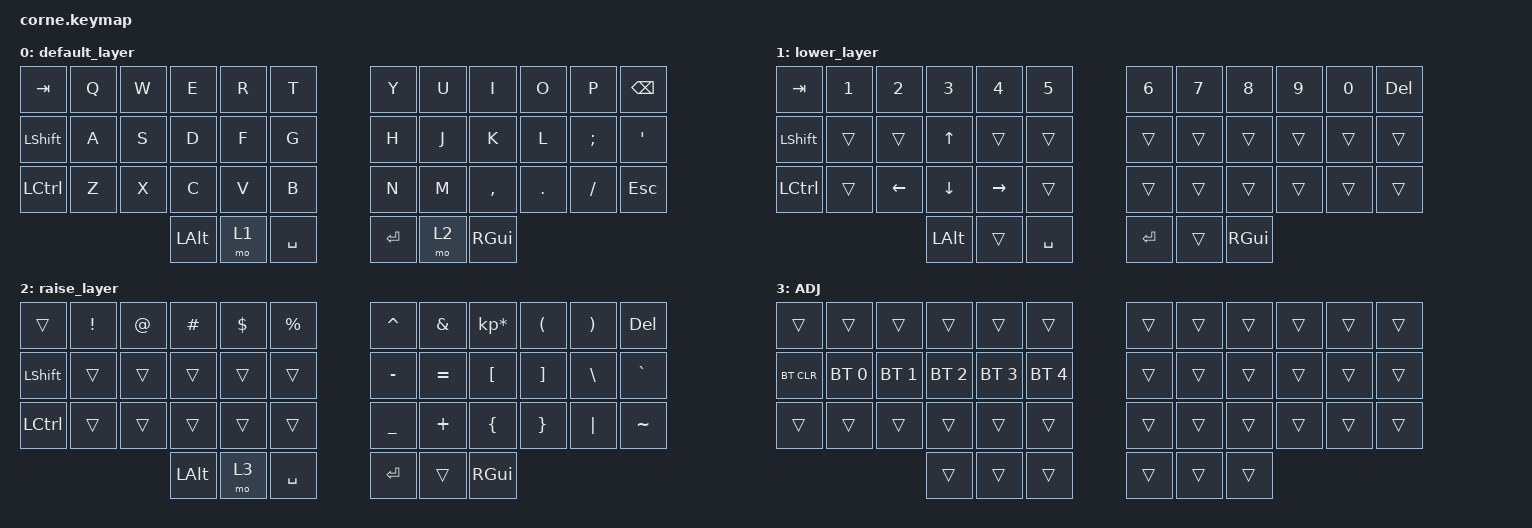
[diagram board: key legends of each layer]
/*
 * Copyright (c) 2020 The ZMK Contributors
 *
 * SPDX-License-Identifier: MIT
 */

#include <behaviors.dtsi>
#include <dt-bindings/zmk/bt.h>
#include <dt-bindings/zmk/keys.h>

/ {
    keymap {
        compatible = "zmk,keymap";

        default_layer {
            // -----------------------------------------------------------------------------------------
            // |  TAB |  Q  |  W  |  E  |  R  |  T  |   |  Y  |  U   |  I  |  O  |  P  | BKSP |
            // | CTRL |  A  |  S  |  D  |  F  |  G  |   |  H  |  J   |  K  |  L  |  ;  |  '   |
            // | SHFT |  Z  |  X  |  C  |  V  |  B  |   |  N  |  M   |  ,  |  .  |  /  | ESC  |
            //                    | GUI | LWR | SPC |   | ENT | RSE  | ALT |

            bindings = <
&kp TAB         &kp Q  &kp W  &kp E     &kp R  &kp T        &kp Y    &kp U  &kp I      &kp O    &kp P     &kp BSPC
&kp LEFT_SHIFT  &kp A  &kp S  &kp D     &kp F  &kp G        &kp H    &kp J  &kp K      &kp L    &kp SEMI  &kp SQT
&kp LCTRL       &kp Z  &kp X  &kp C     &kp V  &kp B        &kp N    &kp M  &kp COMMA  &kp DOT  &kp FSLH  &kp ESC
                              &kp LALT  &mo 1  &kp SPACE    &kp RET  &mo 2  &kp RGUI
            >;
        };

        lower_layer {
            // -----------------------------------------------------------------------------------------
            // |  TAB |  1  |  2  |  3  |  4  |  5  |   |  6  |  7  |  8  |  9  |  0  | BKSP |
            // | BTCLR| BT1 | BT2 | BT3 | BT4 | BT5 |   | LFT | DWN |  UP | RGT |     |      |
            // | SHFT |     |     |     |     |     |   |     |     |     |     |     |      |
            //                    | GUI |     | SPC |   | ENT |     | ALT |

            bindings = <
&kp TAB         &kp N1  &kp N2          &kp N3        &kp N4     &kp N5       &kp N6   &kp N7  &kp N8    &kp N9  &kp N0  &kp DELETE
&kp LEFT_SHIFT  &trans  &trans          &kp UP_ARROW  &trans     &trans       &trans   &trans  &trans    &trans  &trans  &trans
&kp LCTRL       &trans  &kp LEFT_ARROW  &kp DOWN      &kp RIGHT  &trans       &trans   &trans  &trans    &trans  &trans  &trans
                                        &kp LALT      &trans     &kp SPACE    &kp RET  &trans  &kp RGUI
            >;
        };

        raise_layer {
            // -----------------------------------------------------------------------------------------
            // |  TAB |  !  |  @  |  #  |  $  |  %  |   |  ^  |  &  |  *  |  (  |  )  | BKSP |
            // | CTRL |     |     |     |     |     |   |  -  |  =  |  [  |  ]  |  \  |  `   |
            // | SHFT |     |     |     |     |     |   |  _  |  +  |  {  |  }  | "|" |  ~   |
            //                    | GUI |     | SPC |   | ENT |     | ALT |

            bindings = <
&trans          &kp EXCL  &kp AT  &kp HASH  &kp DLLR  &kp PRCNT    &kp CARET  &kp AMPS   &kp KP_MULTIPLY  &kp LPAR  &kp RPAR  &kp DELETE
&kp LEFT_SHIFT  &trans    &trans  &trans    &trans    &trans       &kp MINUS  &kp EQUAL  &kp LBKT         &kp RBKT  &kp BSLH  &kp GRAVE
&kp LCTRL       &trans    &trans  &trans    &trans    &trans       &kp UNDER  &kp PLUS   &kp LBRC         &kp RBRC  &kp PIPE  &kp TILDE
                                  &kp LALT  &mo 3     &kp SPACE    &kp RET    &trans     &kp RGUI
            >;
        };

        adjust_layer {
            bindings = <
&trans      &trans        &trans        &trans        &trans        &trans          &trans  &trans  &trans  &trans  &trans  &trans
&bt BT_CLR  &bt BT_SEL 0  &bt BT_SEL 1  &bt BT_SEL 2  &bt BT_SEL 3  &bt BT_SEL 4    &trans  &trans  &trans  &trans  &trans  &trans
&trans      &trans        &trans        &trans        &trans        &trans          &trans  &trans  &trans  &trans  &trans  &trans
                                        &trans        &trans        &trans          &trans  &trans  &trans
            >;

            label = "ADJ";
        };
    };
};
